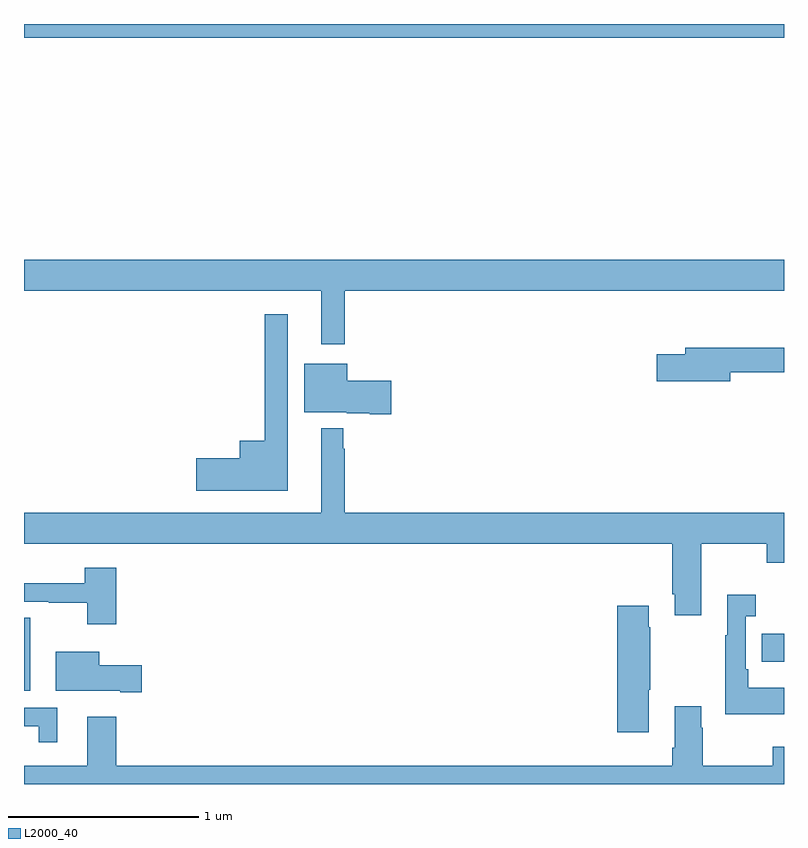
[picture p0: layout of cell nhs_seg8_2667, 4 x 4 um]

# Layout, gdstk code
import gdstk
lib = gdstk.Library(unit=1e-6, precision=1e-09)
def R(c, l, rs):  # rectangles x0, y0, x1, y1
    for r in rs: c.add(gdstk.rectangle(r[:2], r[2:], *l))
def P(c, l, *ps):  # polygons
    for p in ps: c.add(gdstk.Polygon(p, *l))
L2000_40 = (2000, 40)

nhs_seg8_2667 = lib.new_cell('nhs_seg8_2667')
R(nhs_seg8_2667, L2000_40, [(279,1118.39,279.034,1118.774), (282.883,1118.543,283,1118.691), (279,1121.828,283,1121.9)])
P(nhs_seg8_2667, L2000_40, [(280.687,1120.496),(283,1120.496),(283,1120.66),(279,1120.66),(279,1120.496),(280.565,1120.496),(280.565,1120.215),(280.687,1120.215)],
  [(280.387,1120.372),(280.266,1120.372),(280.266,1119.706),(280.136,1119.706),(280.136,1119.614),(279.906,1119.614),(279.906,1119.443),(280.387,1119.443)],
  [(282.718,1120.066),(283,1120.066),(283,1120.195),(282.479,1120.195),(282.479,1120.161),(282.33,1120.161),(282.33,1120.019),(282.718,1120.019)],
  [(280.933,1120.023),(280.702,1120.023),(280.702,1120.111),(280.475,1120.111),(280.475,1119.857),(280.698,1119.857),(280.698,1119.851),(280.82,1119.851),(280.82,1119.845),(280.933,1119.845)],
  [(282.565,1119.164),(282.91,1119.164),(282.91,1119.065),(283,1119.065),(283,1119.328),(280.687,1119.328),(280.687,1119.665),(280.679,1119.665),(280.679,1119.772),(280.565,1119.772),(280.565,1119.328),(279,1119.328),(279,1119.164),(282.413,1119.164),(282.413,1118.899),(282.425,1118.899),(282.425,1118.787),(282.565,1118.787)],
  [(279.485,1119.037),(279.32,1119.037),(279.32,1118.957),(279,1118.957),(279,1118.859),(279.13,1118.859),(279.13,1118.854),(279.332,1118.854),(279.332,1118.742),(279.485,1118.742)],
  [(283,1118.407),(282.811,1118.407),(282.811,1118.503),(282.798,1118.503),(282.798,1118.783),(282.85,1118.783),(282.85,1118.896),(282.701,1118.896),(282.701,1118.683),(282.69,1118.683),(282.69,1118.267),(283,1118.267)],
  [(282.289,1118.395),(282.297,1118.395),(282.297,1118.726),(282.289,1118.726),(282.289,1118.839),(282.122,1118.839),(282.122,1118.172),(282.289,1118.172)],
  [(279.619,1118.525),(279.397,1118.525),(279.397,1118.596),(279.167,1118.596),(279.167,1118.39),(279.506,1118.39),(279.506,1118.383),(279.619,1118.383)],
  [(283,1118.095),(282.94,1118.095),(282.94,1117.996),(282.573,1117.996),(282.573,1118.195),(282.565,1118.195),(282.565,1118.308),(282.425,1118.308),(282.425,1118.092),(282.413,1118.092),(282.413,1117.996),(279.485,1117.996),(279.485,1118.254),(279.332,1118.254),(279.332,1117.996),(279,1117.996),(279,1117.9),(283,1117.9)],
  [(279.175,1118.301),(279,1118.301),(279,1118.205),(279.077,1118.205),(279.077,1118.121),(279.175,1118.121)])

lib.write_gds('nhs_seg8_2667.gds')
